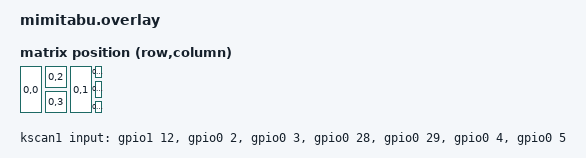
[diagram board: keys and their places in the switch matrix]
#include <dt-bindings/zmk/input_transform.h>
#include <input/processors.dtsi>
#include <dt-bindings/zmk/matrix_transform.h>
#include <physical_layouts.dtsi>
#include <zephyr/dt-bindings/input/input-event-codes.h>

// layers
#define DEFAULT 0
#define SCRL 1
#define BTH 2

/ {
    chosen {
        zmk,kscan = &kscan0;
        zmk,physical-layout = &physical_layout0;
    };

    kscan0: kscan-composite {
        compatible = "zmk,kscan-composite";
        wakeup-source;
        rows = <3>;
        columns = <3>;

        direct {
            kscan = <&kscan1>;
        };

    };

    kscan1: kscan-direct {
        compatible = "zmk,kscan-gpio-direct";
        input-gpios
            = <&gpio1 12 (GPIO_ACTIVE_LOW | GPIO_PULL_UP)>
            , <&gpio0 2 (GPIO_ACTIVE_LOW | GPIO_PULL_UP)>
            , <&gpio0 3 (GPIO_ACTIVE_LOW | GPIO_PULL_UP)>
            , <&gpio0 28 (GPIO_ACTIVE_LOW | GPIO_PULL_UP)>
            , <&gpio0 29 (GPIO_ACTIVE_LOW | GPIO_PULL_UP)>
            , <&gpio0 4 (GPIO_ACTIVE_LOW | GPIO_PULL_UP)>
            , <&gpio0 5 (GPIO_ACTIVE_LOW | GPIO_PULL_UP)>
            ;
    };

    default_transform: keymap_transform_0 {
        compatible = "zmk,matrix-transform";
        rows = <3>;
        columns = <3>;
        map = <
            RC(0,0) RC(0,1)
            RC(0,2) RC(0,3)
            RC(0,4) RC(0,5) RC(0,6)
        >;
    };

    physical_layout0: physical_layout_0 {
        compatible = "zmk,physical-layout";
        display-name = "Default Layout";

        transform = <&default_transform>;
        kscan = <&kscan0>;

        keys  //                     w   h    x    y     rot    rx    ry
            = <&key_physical_attrs  50 100    0    0       0     0     0>
            , <&key_physical_attrs  50 100  100    0       0     0     0>
            , <&key_physical_attrs  50  50   50    0       0     0     0>
            , <&key_physical_attrs  50  50   50    50      0     0     0>
            , <&key_physical_attrs  20  30  150    0       0     0     0>
            , <&key_physical_attrs  20  40  150    30      0     0     0>
            , <&key_physical_attrs  20  30  150    70      0     0     0>
            ;
    };

    position_map {
        compatible = "zmk,physical-layout-position-map";

        complete;

        layout1: layout1 {
            physical-layout = <&physical_layout0>;
            positions
                = < 0 1
                    2 3 
                    4 5 6 > ;
        };
    };
};

&gpio0 {
    fastbatcharge: fast-battery-charge {
        gpio-hog;
        gpios = <13 GPIO_ACTIVE_HIGH>;
        output-low;
        line-name = "Fast Battery Charge";
    };
};

&pinctrl {
    spi0_default: spi0_default {
        group1 {
            psels = <NRF_PSEL(SPIM_SCK, 1, 13)>,
                    <NRF_PSEL(SPIM_MOSI, 1, 15)>,
                    <NRF_PSEL(SPIM_MISO, 1, 15)>;
        };
    };

    spi0_sleep: spi0_sleep {
        group1 {
            psels = <NRF_PSEL(SPIM_SCK, 1, 13)>,
                    <NRF_PSEL(SPIM_MOSI, 1, 15)>,
                    <NRF_PSEL(SPIM_MISO, 1, 15)>;
            low-power-enable;
        };
    };
};

&uart0 {
    status = "disabled";
};

&xiao_serial {
    status = "disabled";
};

&spi0 {
    status = "okay";
    compatible = "nordic,nrf-spim";
    pinctrl-0 = <&spi0_default>;
    pinctrl-1 = <&spi0_sleep>;
    pinctrl-names = "default", "sleep";
    cs-gpios = <&gpio1 11 GPIO_ACTIVE_LOW>;
    trackball: trackball@0 {
        status = "okay";
        compatible = "pixart,pmw3610";
        reg = <0>;
        spi-max-frequency = <2000000>;
        irq-gpios = <&gpio1 14 (GPIO_ACTIVE_LOW | GPIO_PULL_UP)>;
        cpi = <800>;
        evt-type = <INPUT_EV_REL>;
        x-input-code = <INPUT_REL_X>;
        y-input-code = <INPUT_REL_Y>;

        force-awake;
    };
};

/ {
  trackball_listener: trackball_listner {
    compatible = "zmk,input-listener";
    device = <&trackball>;
    input-processors = <&zip_xy_transform (INPUT_TRANSFORM_Y_INVERT)>, <&zip_x_scaler 4 5>;

    scroll {
        layers = <SCRL>;
        input-processors = <&zip_x_scaler 4 5>, <&zip_xy_to_scroll_mapper>;
        process-next;
    };
  };
}; 
